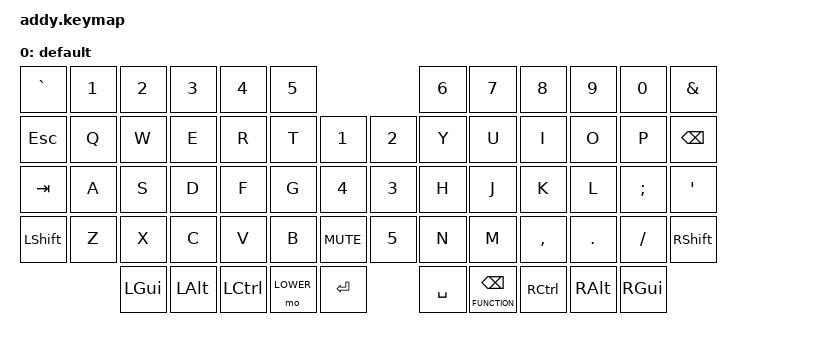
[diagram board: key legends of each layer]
/*
 * Copyright (c) 2020 The ZMK Contributors
 *
 * SPDX-License-Identifier: MIT
 */

#include <behaviors.dtsi>
#include <dt-bindings/zmk/keys.h>
#include <dt-bindings/zmk/bt.h>
#include <dt-bindings/zmk/rgb.h>
#include <dt-bindings/zmk/ext_power.h>
#include <dt-bindings/zmk/outputs.h>

#define BASE 0
#define FUNCTION 1
#define RAISE 2
#define ADJUST 3

&lt {
    tapping-term-ms = <200>;
};

/ {

   // Activate ADJUST layer by pressing raise and lower
    // conditional_layers {
    //     compatible = "zmk,conditional-layers";
    //     adjust_layer {
    //         if-layers = <LOWER RAISE>;
    //         then-layer = <ADJUST>;
    //     };
    // };



    keymap {
        compatible = "zmk,keymap";

        default_layer {
            label = "default";
// ------------------------------------------------------------------------------------------------------------
// |   `   |  1  |  2  |  3   |  4   |  5   |                   |  6   |  7    |  8    |  9   |   0   |       |
// |  ESC  |  Q  |  W  |  E   |  R   |  T   |                   |  Y   |  U    |  I    |  O   |   P   | BKSPC |
// |  TAB  |  A  |  S  |  D   |  F   |  G   |                   |  H   |  J    |  K    |  L   |   ;   |   '   |
// | SHIFT |  Z  |  X  |  C   |  V   |  B   |  MUTE  |  |       |  N   |  M    |  ,    |  .   |   /   | SHIFT |
//               | GUI | ALT  | CTRL | LOWER|  ENTER |  | SPACE | RAISE| CTRL  | ALT   | GUI  |
            bindings = <
           &kp GRAVE  &kp N1     &kp N2     &kp N3     &kp N4     &kp N5                               &kp N6     &kp N7     &kp N8     &kp N9     &kp N0     &kp AMPERSAND
           &kp ESC    &kp Q      &kp W      &kp E      &kp R      &kp T      &kp N1         &kp N2     &kp Y      &kp U      &kp I      &kp O      &kp P      &kp BSPC
           &kp TAB    &kp A      &kp S      &kp D      &kp F      &kp G      &kp N4         &kp N3     &kp H      &kp J      &kp K      &kp L      &kp SEMI   &kp SQT
           &kp LSHFT  &kp Z      &kp X      &kp C      &kp V      &kp B      &kp C_MUTE     &kp N5     &kp N      &kp M      &kp COMMA  &kp DOT    &kp FSLH   &kp RSHFT
                                 &kp LGUI   &kp LALT   &kp LCTRL  &mo LOWER  &kp RET        &kp SPACE  &lt FUNCTION BSPC &kp RCTRL  &kp RALT   &kp RGUI
            >;
        };
    };
};
